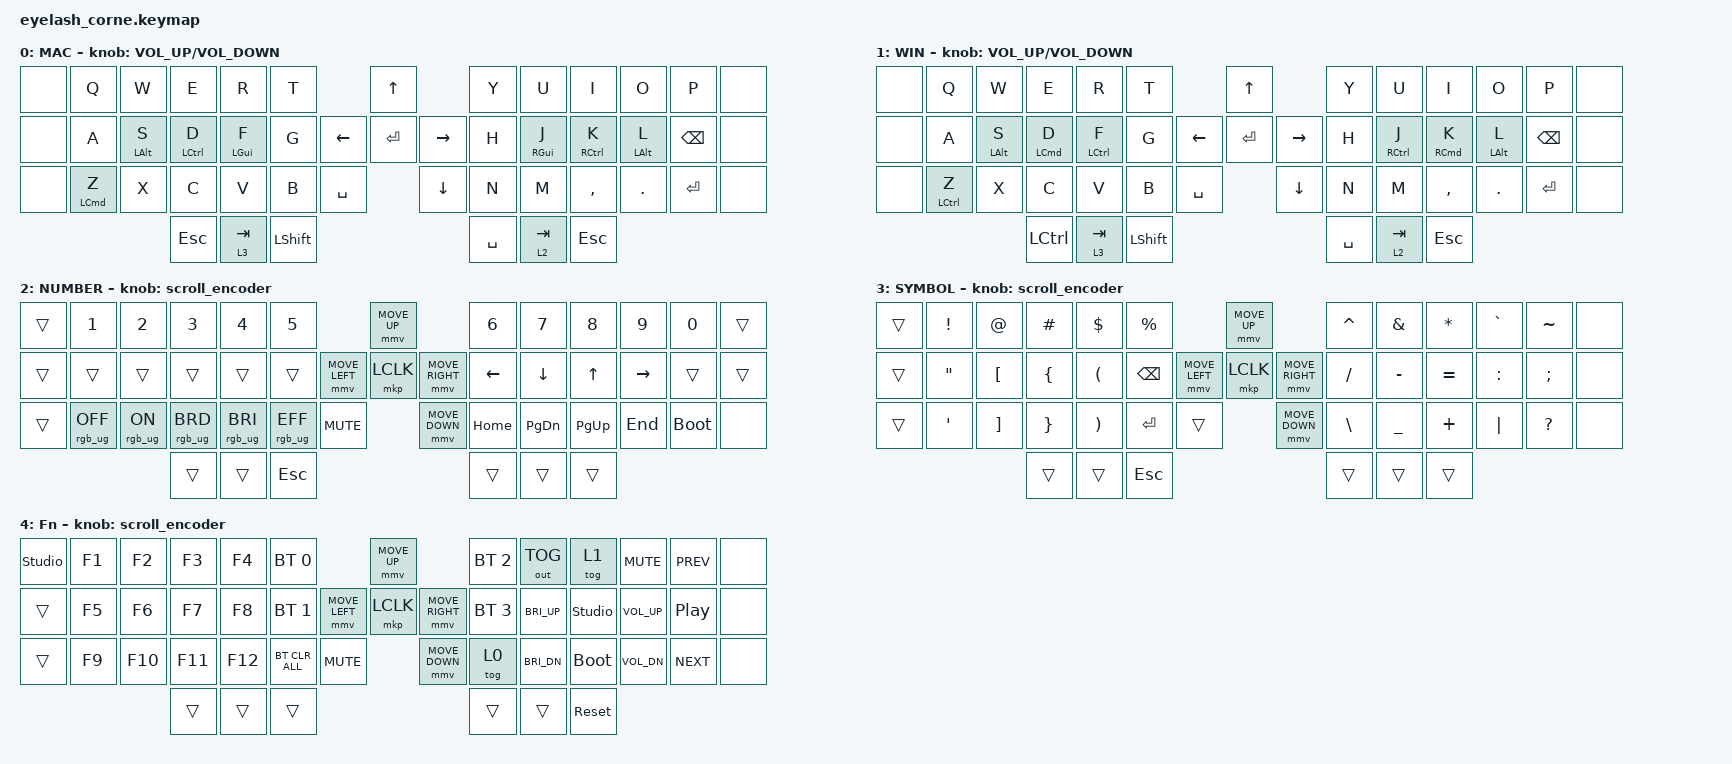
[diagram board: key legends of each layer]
#define ZMK_POINTING_DEFAULT_MOVE_VAL 1200  // 600
#define ZMK_POINTING_DEFAULT_SCRL_VAL 25   // 10

#include <input/processors.dtsi>
#include <zephyr/dt-bindings/input/input-event-codes.h>
#include <behaviors.dtsi>
#include <dt-bindings/zmk/bt.h>
#include <dt-bindings/zmk/keys.h>
#include <dt-bindings/zmk/outputs.h>
#include <dt-bindings/zmk/pointing.h>
#include <dt-bindings/zmk/rgb.h>

&mmv_input_listener { input-processors = <&zip_xy_scaler 2 1>; };

&msc_input_listener { input-processors = <&zip_scroll_scaler 2 1>; };

&msc {
    acceleration-exponent = <1>;      // 0
    time-to-max-speed-ms = <100>;       // 300
    delay-ms = <0>;                   // 0
};

&mmv {
    time-to-max-speed-ms = <500>;
    acceleration-exponent = <1>;
    trigger-period-ms = <16>;
};

/ {
    behaviors {
        td0: td0 {
            compatible = "zmk,behavior-tap-dance";
            display-name = "Shift/Caps Lock Tap Dance";
            #binding-cells = <0>;
            bindings = <&kp LEFT_SHIFT>, <&kp CAPS>;
        };

        ht: hold_tap {
            label = "hold_tap";
            compatible = "zmk,behavior-hold-tap";
            #binding-cells = <2>;
            flavor = "tap-preferred";
            tapping-term-ms = <180>;
            quick-tap-ms = <150>;
            global-quick-tap;
            bindings = <&kp>, <&kp>;
        };
    };

    rgb_encoder: rgb_encoder {
        compatible = "zmk,behavior-sensor-rotate";
        #sensor-binding-cells = <0>;
        bindings = <&rgb_ug RGB_BRI>, <&rgb_ug RGB_BRD>;
    };

    scroll_encoder: scroll_encoder {
        compatible = "zmk,behavior-sensor-rotate";
        #sensor-binding-cells = <0>;
        bindings = <&msc SCRL_DOWN>, <&msc SCRL_UP>;

        tap-ms = <100>;
    };

    keymap {
        compatible = "zmk,keymap";

        default_layer {
            display-name = "MAC";
            bindings = <
&none  &kp Q               &kp W       &kp E        &kp R       &kp T                              &kp UP                &kp Y      &kp U       &kp I        &kp O           &kp P      &none
&none  &kp A               &ht LALT S  &ht LCTRL D  &ht LGUI F  &kp G                    &kp LEFT  &kp ENTER  &kp RIGHT  &kp H      &ht RGUI J  &ht RCTRL K  &ht LEFT_ALT L  &kp BSPC   &none
&none  &ht LEFT_COMMAND Z  &kp X       &kp C        &kp V       &kp B       &kp SPACE              &kp DOWN              &kp N      &kp M       &kp COMMA    &kp DOT         &kp ENTER  &none
                                       &kp ESC      &lt 3 TAB   &kp LSHIFT                                               &kp SPACE  &lt 2 TAB   &kp ESC
            >;

            sensor-bindings = <&inc_dec_kp C_VOLUME_UP C_VOLUME_DOWN>;
        };

        win_keymap {
            display-name = "WIN";
            bindings = <
&none  &kp Q        &kp W       &kp E               &kp R        &kp T                              &kp UP                &kp Y      &kp U        &kp I                &kp O           &kp P      &none
&none  &kp A        &ht LALT S  &ht LEFT_COMMAND D  &ht LCTRL F  &kp G                    &kp LEFT  &kp ENTER  &kp RIGHT  &kp H      &ht RCTRL J  &ht RIGHT_COMMAND K  &ht LEFT_ALT L  &kp BSPC   &none
&none  &ht LCTRL Z  &kp X       &kp C               &kp V        &kp B       &kp SPACE              &kp DOWN              &kp N      &kp M        &kp COMMA            &kp DOT         &kp ENTER  &none
                                &kp LCTRL           &lt 3 TAB    &kp LSHIFT                                               &kp SPACE  &lt 2 TAB    &kp ESC
            >;

            sensor-bindings = <&inc_dec_kp C_VOLUME_UP C_VOLUME_DOWN>;
        };

        lower_layer {
            display-name = "NUMBER";
            bindings = <
&trans  &kp N1           &kp N2          &kp N3           &kp N4           &kp N5                                         &mmv MOVE_UP                     &kp N6    &kp N7     &kp N8     &kp N9     &kp N0       &trans
&trans  &trans           &trans          &trans           &trans           &trans                         &mmv MOVE_LEFT  &mkp LCLK       &mmv MOVE_RIGHT  &kp LEFT  &kp DOWN   &kp UP     &kp RIGHT  &trans       &trans
&trans  &rgb_ug RGB_OFF  &rgb_ug RGB_ON  &rgb_ug RGB_BRD  &rgb_ug RGB_BRI  &rgb_ug RGB_EFF  &kp C_MUTE                    &mmv MOVE_DOWN                   &kp HOME  &kp PG_DN  &kp PG_UP  &kp END    &bootloader  &none
                                         &trans           &trans           &kp ESC                                                                         &trans    &trans     &trans
            >;

            sensor-bindings = <&scroll_encoder>;
        };

        raise_layer {
            display-name = "SYMBOL";
            bindings = <
&trans  &kp EXCL  &kp AT    &kp HASH  &kp DLLR  &kp PRCNT                                &mmv MOVE_UP                     &kp CARET  &kp AMPS        &kp ASTRK  &kp GRAVE  &kp TILDE     &none
&trans  &kp DQT   &kp LBKT  &kp LBRC  &kp LPAR  &kp BACKSPACE            &mmv MOVE_LEFT  &mkp LCLK       &mmv MOVE_RIGHT  &kp FSLH   &kp MINUS       &kp EQUAL  &kp COLON  &kp SEMI      &none
&trans  &kp SQT   &kp RBKT  &kp RBRC  &kp RPAR  &kp ENTER      &trans                    &mmv MOVE_DOWN                   &kp BSLH   &kp UNDERSCORE  &kp PLUS   &kp PIPE   &kp QUESTION  &none
                            &trans    &trans    &kp ESC                                                                   &trans     &trans          &trans
            >;

            sensor-bindings = <&scroll_encoder>;
        };

        layer_3 {
            display-name = "Fn";
            bindings = <
&studio_unlock  &kp F1  &kp F2   &kp F3   &kp F4   &bt BT_SEL 0                                  &mmv MOVE_UP                     &bt BT_SEL 2  &out OUT_TOG  &tog 1          &kp K_MUTE       &kp C_PREV  &none
&trans          &kp F5  &kp F6   &kp F7   &kp F8   &bt BT_SEL 1                  &mmv MOVE_LEFT  &mkp LCLK       &mmv MOVE_RIGHT  &bt BT_SEL 3  &kp C_BRI_UP  &studio_unlock  &kp C_VOLUME_UP  &kp C_PP    &none
&trans          &kp F9  &kp F10  &kp F11  &kp F12  &bt BT_CLR_ALL  &kp C_MUTE                    &mmv MOVE_DOWN                   &tog 0        &kp C_BRI_DN  &bootloader     &kp C_VOL_DN     &kp C_NEXT  &none
                                 &trans   &trans   &trans                                                                         &trans        &trans        &sys_reset
            >;

            sensor-bindings = <&scroll_encoder>;
        };
    };

    conditional_layers {
        compatible = "zmk,conditional-layers";

        fn_layer_tri {
            if-layers = <2 3>;
            then-layer = <4>;
        };

        switch {
            if-layers = <2 3>;
            then-layer = <4>;
        };
    };
};
